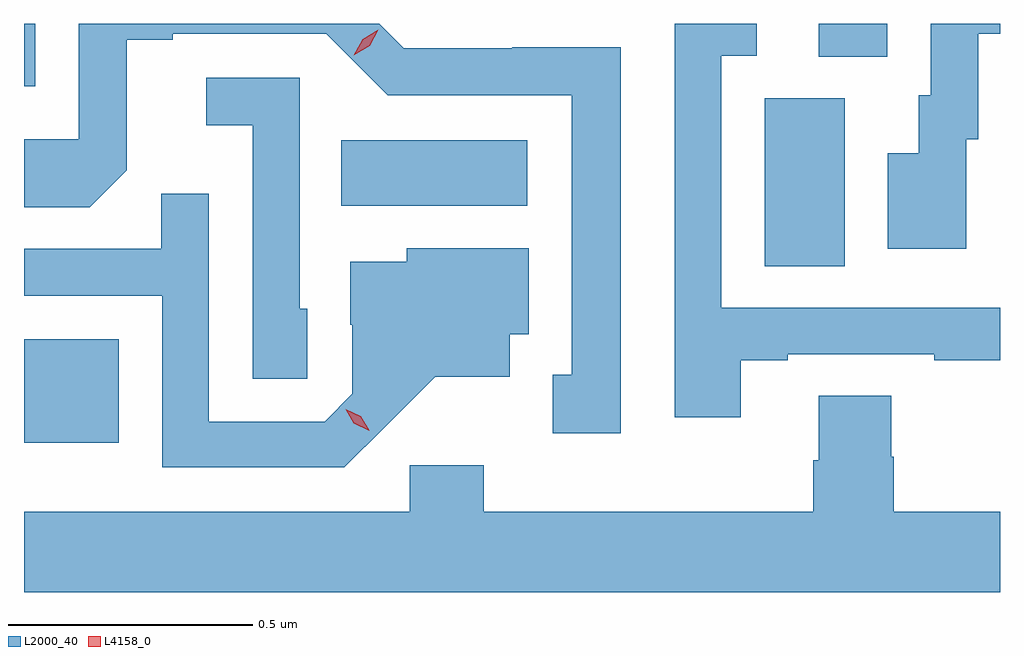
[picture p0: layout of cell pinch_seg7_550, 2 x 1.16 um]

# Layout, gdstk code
import gdstk
lib = gdstk.Library(unit=1e-6, precision=1e-09)
def R(c, l, rs):  # rectangles x0, y0, x1, y1
    for r in rs: c.add(gdstk.rectangle(r[:2], r[2:], *l))
def P(c, l, *ps):  # polygons
    for p in ps: c.add(gdstk.Polygon(p, *l))
L2000_40 = (2000, 40)
L4158_0 = (4158, 0)

pinch_seg7_550 = lib.new_cell('pinch_seg7_550')
R(pinch_seg7_550, L2000_40, [(157.364,1060.862,157.558,1061.074), (158.882,1061.224,159.046,1061.568), (158.014,1061.348,158.395,1061.482), (157.364,1061.592,157.387,1061.72), (158.993,1061.653,159.133,1061.72)])
P(pinch_seg7_550, L2000_40, [(158.587,1061.672),(158.364,1061.672),(158.364,1061.67),(158.142,1061.67),(158.092,1061.72),(157.476,1061.72),(157.476,1061.484),(157.364,1061.484),(157.364,1061.344),(157.499,1061.344),(157.575,1061.42),(157.575,1061.688),(157.669,1061.688),(157.669,1061.7),(157.983,1061.7),(158.109,1061.574),(158.486,1061.574),(158.486,1061.001),(158.447,1061.001),(158.447,1060.881),(158.587,1060.881)],
  [(159.295,1061.484),(159.319,1061.484),(159.319,1061.7),(159.364,1061.7),(159.364,1061.72),(159.222,1061.72),(159.222,1061.574),(159.197,1061.574),(159.197,1061.455),(159.134,1061.455),(159.134,1061.259),(159.295,1061.259)],
  [(158.833,1061.031),(158.929,1061.031),(158.929,1061.043),(159.229,1061.043),(159.229,1061.031),(159.364,1061.031),(159.364,1061.139),(158.793,1061.139),(158.793,1061.655),(158.866,1061.655),(158.866,1061.72),(158.697,1061.72),(158.697,1060.914),(158.833,1060.914)],
  [(157.944,1061.136),(157.929,1061.136),(157.929,1061.61),(157.737,1061.61),(157.737,1061.513),(157.833,1061.513),(157.833,1060.993),(157.944,1060.993)],
  [(158.104,1060.895),(158.207,1060.997),(158.359,1060.997),(158.359,1061.084),(158.398,1061.084),(158.398,1061.26),(158.148,1061.26),(158.148,1061.233),(158.033,1061.233),(158.033,1061.104),(158.037,1061.104),(158.037,1060.962),(157.98,1060.905),(157.743,1060.905),(157.743,1061.372),(157.645,1061.372),(157.645,1061.259),(157.364,1061.259),(157.364,1061.163),(157.647,1061.163),(157.647,1060.812),(158.02,1060.812)],
  [(158.993,1060.958),(158.993,1060.826),(158.981,1060.826),(158.981,1060.72),(158.306,1060.72),(158.306,1060.816),(158.154,1060.816),(158.154,1060.72),(157.364,1060.72),(157.364,1060.556),(159.364,1060.556),(159.364,1060.72),(159.146,1060.72),(159.146,1060.833),(159.141,1060.833),(159.141,1060.958)])
P(pinch_seg7_550, L4158_0, [(158.04,1061.656),(158.04,1061.656),(158.058,1061.689),(158.09,1061.708),(158.09,1061.708),(158.09,1061.708),(158.072,1061.675),(158.04,1061.656)],
  [(158.071,1060.886),(158.04,1060.902),(158.023,1060.931),(158.023,1060.931),(158.023,1060.931),(158.054,1060.916),(158.071,1060.887),(158.071,1060.886)])

lib.write_gds('pinch_seg7_550.gds')
